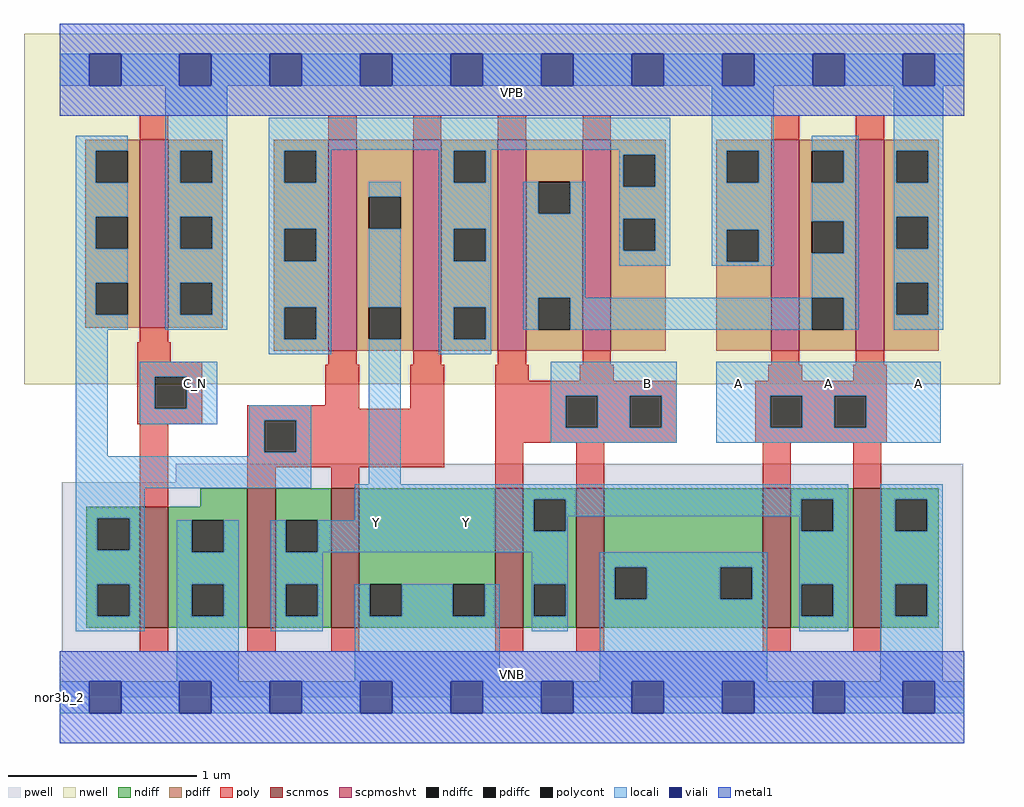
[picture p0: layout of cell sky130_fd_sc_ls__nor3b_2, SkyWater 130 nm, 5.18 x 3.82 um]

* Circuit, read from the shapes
.subckt sky130_fd_sc_ls__nor3b_2 A B C_N VGND VNB VPB VPWR Y
XM1 VGND C_N n1 VNB sky130_fd_pr__nfet_01v8 w=0.64 l=0.15
XM2 Y n1 VGND VNB sky130_fd_pr__nfet_01v8 w=0.74 l=0.15 m=2
XM3 Y B VGND VNB sky130_fd_pr__nfet_01v8 w=0.74 l=0.15 m=2
XM4 Y A VGND VNB sky130_fd_pr__nfet_01v8 w=0.74 l=0.15 m=2
XM5 VPWR C_N n1 VPB sky130_fd_pr__pfet_01v8_hvt w=1 l=0.15
XM6 Y n1 n2 VPB sky130_fd_pr__pfet_01v8_hvt w=1.12 l=0.15 m=2
XM7 n3 B n2 VPB sky130_fd_pr__pfet_01v8_hvt w=1.12 l=0.15 m=2
XM8 n3 A VPWR VPB sky130_fd_pr__pfet_01v8_hvt w=1.12 l=0.15 m=2
.ends

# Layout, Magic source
magic
tech sky130A
magscale 1 2
<< nwell >>
rect -38 332 998 704
<< pwell >>
rect 123 228 959 248
rect 2 49 959 228
rect 0 0 960 49
<< scnmos >>
rect 85 74 115 202
rect 199 74 229 222
rect 288 74 318 222
rect 462 74 492 222
rect 548 74 578 222
rect 746 74 776 222
rect 842 74 872 222
<< scpmoshvt >>
rect 85 392 115 592
rect 285 368 315 592
rect 375 368 405 592
rect 465 368 495 592
rect 555 368 585 592
rect 755 368 785 592
rect 845 368 875 592
<< ndiff >>
rect 149 202 199 222
rect 28 190 85 202
rect 28 156 40 190
rect 74 156 85 190
rect 28 120 85 156
rect 28 86 40 120
rect 74 86 85 120
rect 28 74 85 86
rect 115 188 199 202
rect 115 154 140 188
rect 174 154 199 188
rect 115 120 199 154
rect 115 86 140 120
rect 174 86 199 120
rect 115 74 199 86
rect 229 188 288 222
rect 229 154 240 188
rect 274 154 288 188
rect 229 120 288 154
rect 229 86 240 120
rect 274 86 288 120
rect 229 74 288 86
rect 318 120 462 222
rect 318 86 329 120
rect 363 86 417 120
rect 451 86 462 120
rect 318 74 462 86
rect 492 210 548 222
rect 492 176 503 210
rect 537 176 548 210
rect 492 120 548 176
rect 492 86 503 120
rect 537 86 548 120
rect 492 74 548 86
rect 578 138 746 222
rect 578 104 589 138
rect 623 104 701 138
rect 735 104 746 138
rect 578 74 746 104
rect 776 210 842 222
rect 776 176 787 210
rect 821 176 842 210
rect 776 120 842 176
rect 776 86 787 120
rect 821 86 842 120
rect 776 74 842 86
rect 872 210 933 222
rect 872 176 887 210
rect 921 176 933 210
rect 872 120 933 176
rect 872 86 887 120
rect 921 86 933 120
rect 872 74 933 86
<< pdiff >>
rect 27 580 85 592
rect 27 546 38 580
rect 72 546 85 580
rect 27 510 85 546
rect 27 476 38 510
rect 72 476 85 510
rect 27 440 85 476
rect 27 406 38 440
rect 72 406 85 440
rect 27 392 85 406
rect 115 580 173 592
rect 115 546 128 580
rect 162 546 173 580
rect 115 510 173 546
rect 115 476 128 510
rect 162 476 173 510
rect 115 440 173 476
rect 115 406 128 440
rect 162 406 173 440
rect 115 392 173 406
rect 227 580 285 592
rect 227 546 238 580
rect 272 546 285 580
rect 227 497 285 546
rect 227 463 238 497
rect 272 463 285 497
rect 227 414 285 463
rect 227 380 238 414
rect 272 380 285 414
rect 227 368 285 380
rect 315 531 375 592
rect 315 497 328 531
rect 362 497 375 531
rect 315 414 375 497
rect 315 380 328 414
rect 362 380 375 414
rect 315 368 375 380
rect 405 580 465 592
rect 405 546 418 580
rect 452 546 465 580
rect 405 497 465 546
rect 405 463 418 497
rect 452 463 465 497
rect 405 414 465 463
rect 405 380 418 414
rect 452 380 465 414
rect 405 368 465 380
rect 495 547 555 592
rect 495 513 508 547
rect 542 513 555 547
rect 495 424 555 513
rect 495 390 508 424
rect 542 390 555 424
rect 495 368 555 390
rect 585 576 643 592
rect 585 542 598 576
rect 632 542 643 576
rect 585 508 643 542
rect 585 474 598 508
rect 632 474 643 508
rect 585 368 643 474
rect 697 580 755 592
rect 697 546 708 580
rect 742 546 755 580
rect 697 496 755 546
rect 697 462 708 496
rect 742 462 755 496
rect 697 368 755 462
rect 785 580 845 592
rect 785 546 798 580
rect 832 546 845 580
rect 785 505 845 546
rect 785 471 798 505
rect 832 471 845 505
rect 785 424 845 471
rect 785 390 798 424
rect 832 390 845 424
rect 785 368 845 390
rect 875 580 933 592
rect 875 546 888 580
rect 922 546 933 580
rect 875 510 933 546
rect 875 476 888 510
rect 922 476 933 510
rect 875 440 933 476
rect 875 406 888 440
rect 922 406 933 440
rect 875 368 933 406
<< ndiffc >>
rect 40 156 74 190
rect 40 86 74 120
rect 140 154 174 188
rect 140 86 174 120
rect 240 154 274 188
rect 240 86 274 120
rect 329 86 363 120
rect 417 86 451 120
rect 503 176 537 210
rect 503 86 537 120
rect 589 104 623 138
rect 701 104 735 138
rect 787 176 821 210
rect 787 86 821 120
rect 887 176 921 210
rect 887 86 921 120
<< pdiffc >>
rect 38 546 72 580
rect 38 476 72 510
rect 38 406 72 440
rect 128 546 162 580
rect 128 476 162 510
rect 128 406 162 440
rect 238 546 272 580
rect 238 463 272 497
rect 238 380 272 414
rect 328 497 362 531
rect 328 380 362 414
rect 418 546 452 580
rect 418 463 452 497
rect 418 380 452 414
rect 508 513 542 547
rect 508 390 542 424
rect 598 542 632 576
rect 598 474 632 508
rect 708 546 742 580
rect 708 462 742 496
rect 798 546 832 580
rect 798 471 832 505
rect 798 390 832 424
rect 888 546 922 580
rect 888 476 922 510
rect 888 406 922 440
<< poly >>
rect 85 592 115 618
rect 285 592 315 618
rect 375 592 405 618
rect 465 592 495 618
rect 555 592 585 618
rect 755 592 785 618
rect 845 592 875 618
rect 85 377 115 392
rect 82 356 118 377
rect 82 340 151 356
rect 285 353 315 368
rect 375 353 405 368
rect 465 353 495 368
rect 555 353 585 368
rect 755 353 785 368
rect 845 353 875 368
rect 82 306 101 340
rect 135 306 151 340
rect 282 310 318 353
rect 82 290 151 306
rect 199 306 318 310
rect 372 306 408 353
rect 199 294 408 306
rect 85 202 115 290
rect 199 260 217 294
rect 251 260 408 294
rect 199 244 408 260
rect 462 336 498 353
rect 552 336 588 353
rect 752 336 788 353
rect 842 336 878 353
rect 462 320 655 336
rect 462 286 537 320
rect 571 286 605 320
rect 639 286 655 320
rect 462 270 655 286
rect 738 320 878 336
rect 738 286 754 320
rect 788 286 822 320
rect 856 286 878 320
rect 738 270 878 286
rect 199 222 229 244
rect 288 222 318 244
rect 462 222 492 270
rect 548 222 578 270
rect 746 222 776 270
rect 842 222 872 270
rect 85 48 115 74
rect 199 48 229 74
rect 288 48 318 74
rect 462 48 492 74
rect 548 48 578 74
rect 746 48 776 74
rect 842 48 872 74
<< polycont >>
rect 101 306 135 340
rect 217 260 251 294
rect 537 286 571 320
rect 605 286 639 320
rect 754 286 788 320
rect 822 286 856 320
<< locali >>
rect 0 649 31 683
rect 65 649 127 683
rect 161 649 223 683
rect 257 649 319 683
rect 353 649 415 683
rect 449 649 511 683
rect 545 649 607 683
rect 641 649 703 683
rect 737 649 799 683
rect 833 649 895 683
rect 929 649 960 683
rect 17 580 72 596
rect 17 546 38 580
rect 17 510 72 546
rect 17 476 38 510
rect 17 440 72 476
rect 17 406 38 440
rect 17 390 72 406
rect 112 580 178 649
rect 112 546 128 580
rect 162 546 178 580
rect 112 510 178 546
rect 112 476 128 510
rect 162 476 178 510
rect 112 440 178 476
rect 112 406 128 440
rect 162 406 178 440
rect 112 390 178 406
rect 222 581 648 615
rect 222 580 288 581
rect 222 546 238 580
rect 272 546 288 580
rect 402 580 458 581
rect 222 497 288 546
rect 222 463 238 497
rect 272 463 288 497
rect 222 414 288 463
rect 17 256 51 390
rect 222 380 238 414
rect 272 380 288 414
rect 222 364 288 380
rect 328 531 362 547
rect 328 414 362 497
rect 85 340 167 356
rect 85 306 101 340
rect 135 306 167 340
rect 85 290 167 306
rect 201 294 267 310
rect 201 260 217 294
rect 251 260 267 294
rect 201 256 267 260
rect 17 222 267 256
rect 328 226 362 380
rect 402 546 418 580
rect 452 546 458 580
rect 594 576 648 581
rect 402 497 458 546
rect 402 463 418 497
rect 452 463 458 497
rect 402 414 458 463
rect 402 380 418 414
rect 452 380 458 414
rect 492 513 508 547
rect 542 513 558 547
rect 492 424 558 513
rect 594 542 598 576
rect 632 542 648 576
rect 594 508 648 542
rect 594 474 598 508
rect 632 474 648 508
rect 594 458 648 474
rect 692 580 758 649
rect 692 546 708 580
rect 742 546 758 580
rect 692 496 758 546
rect 692 462 708 496
rect 742 462 758 496
rect 692 458 758 462
rect 798 580 848 596
rect 832 546 848 580
rect 798 505 848 546
rect 832 471 848 505
rect 798 424 848 471
rect 492 390 508 424
rect 542 390 798 424
rect 832 390 848 424
rect 885 580 938 649
rect 885 546 888 580
rect 922 546 938 580
rect 885 510 938 546
rect 885 476 888 510
rect 922 476 938 510
rect 885 440 938 476
rect 885 406 888 440
rect 922 406 938 440
rect 885 390 938 406
rect 402 364 458 380
rect 521 320 655 356
rect 521 286 537 320
rect 571 286 605 320
rect 639 286 655 320
rect 521 270 655 286
rect 697 320 935 356
rect 697 286 754 320
rect 788 286 822 320
rect 856 286 935 320
rect 697 270 935 286
rect 17 190 90 222
rect 17 156 40 190
rect 74 156 90 190
rect 313 210 837 226
rect 313 188 503 210
rect 17 120 90 156
rect 17 86 40 120
rect 74 86 90 120
rect 17 70 90 86
rect 124 154 140 188
rect 174 154 190 188
rect 124 120 190 154
rect 124 86 140 120
rect 174 86 190 120
rect 124 17 190 86
rect 224 154 240 188
rect 274 176 503 188
rect 537 192 787 210
rect 537 176 539 192
rect 274 154 539 176
rect 785 176 787 192
rect 821 176 837 210
rect 224 120 279 154
rect 501 120 539 154
rect 224 86 240 120
rect 274 86 279 120
rect 224 70 279 86
rect 313 86 329 120
rect 363 86 417 120
rect 451 86 467 120
rect 313 17 467 86
rect 501 86 503 120
rect 537 86 539 120
rect 501 70 539 86
rect 573 138 751 154
rect 573 104 589 138
rect 623 104 701 138
rect 735 104 751 138
rect 573 17 751 104
rect 785 120 837 176
rect 785 86 787 120
rect 821 86 837 120
rect 785 70 837 86
rect 871 210 937 226
rect 871 176 887 210
rect 921 176 937 210
rect 871 120 937 176
rect 871 86 887 120
rect 921 86 937 120
rect 871 17 937 86
rect 0 -17 31 17
rect 65 -17 127 17
rect 161 -17 223 17
rect 257 -17 319 17
rect 353 -17 415 17
rect 449 -17 511 17
rect 545 -17 607 17
rect 641 -17 703 17
rect 737 -17 799 17
rect 833 -17 895 17
rect 929 -17 960 17
<< viali >>
rect 31 649 65 683
rect 127 649 161 683
rect 223 649 257 683
rect 319 649 353 683
rect 415 649 449 683
rect 511 649 545 683
rect 607 649 641 683
rect 703 649 737 683
rect 799 649 833 683
rect 895 649 929 683
rect 31 -17 65 17
rect 127 -17 161 17
rect 223 -17 257 17
rect 319 -17 353 17
rect 415 -17 449 17
rect 511 -17 545 17
rect 607 -17 641 17
rect 703 -17 737 17
rect 799 -17 833 17
rect 895 -17 929 17
<< metal1 >>
rect 0 683 960 715
rect 0 649 31 683
rect 65 649 127 683
rect 161 649 223 683
rect 257 649 319 683
rect 353 649 415 683
rect 449 649 511 683
rect 545 649 607 683
rect 641 649 703 683
rect 737 649 799 683
rect 833 649 895 683
rect 929 649 960 683
rect 0 617 960 649
rect 0 17 960 49
rect 0 -17 31 17
rect 65 -17 127 17
rect 161 -17 223 17
rect 257 -17 319 17
rect 353 -17 415 17
rect 449 -17 511 17
rect 545 -17 607 17
rect 641 -17 703 17
rect 737 -17 799 17
rect 833 -17 895 17
rect 929 -17 960 17
rect 0 -49 960 -17
<< labels >>
rlabel comment s 0 0 0 0 4 nor3b_2
flabel pwell s 0 0 960 49 0 FreeSans 200 0 0 0 VNB
port 5 nsew ground bidirectional
flabel nwell s 0 617 960 666 0 FreeSans 200 0 0 0 VPB
port 6 nsew power bidirectional
flabel metal1 s 0 617 960 666 0 FreeSans 340 0 0 0 VPWR
port 7 nsew power bidirectional abutment
flabel metal1 s 0 0 960 49 0 FreeSans 340 0 0 0 VGND
port 4 nsew ground bidirectional abutment
flabel locali s 703 316 737 350 0 FreeSans 340 0 0 0 A
port 1 nsew signal input
flabel locali s 799 316 833 350 0 FreeSans 340 0 0 0 A
port 1 nsew signal input
flabel locali s 895 316 929 350 0 FreeSans 340 0 0 0 A
port 1 nsew signal input
flabel locali s 607 316 641 350 0 FreeSans 340 0 0 0 B
port 2 nsew signal input
flabel locali s 319 168 353 202 0 FreeSans 340 0 0 0 Y
port 8 nsew signal output
flabel locali s 415 168 449 202 0 FreeSans 340 0 0 0 Y
port 8 nsew signal output
flabel locali s 127 316 161 350 0 FreeSans 340 0 0 0 C_N
port 3 nsew signal input
<< properties >>
string LEFsite unit
string LEFclass CORE
string FIXED_BBOX 0 0 960 666
string GDS_FILE $PDKPATH/libs.ref/sky130_fd_sc_ls/gds/sky130_fd_sc_ls.gds
string LEFsymmetry X Y
string GDS_END 1430996
string GDS_START 1422274
<< end >>
